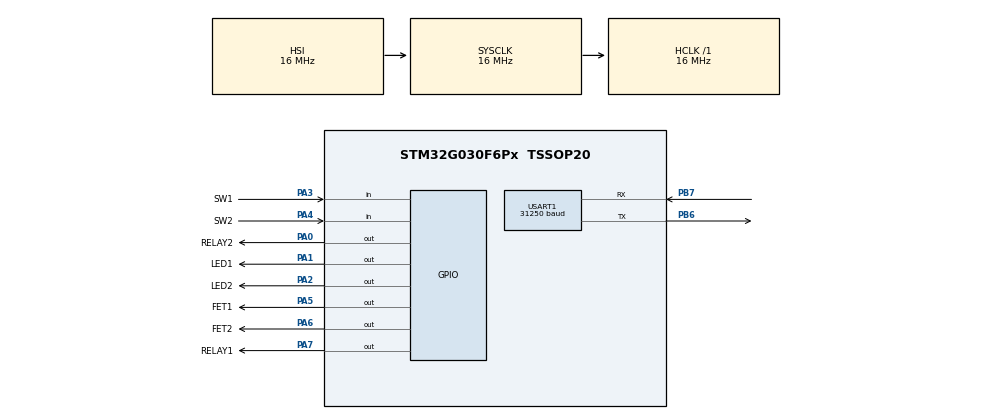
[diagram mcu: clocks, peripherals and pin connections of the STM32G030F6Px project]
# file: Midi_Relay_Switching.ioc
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Dma.Request0=USART1_RX
Dma.USART1_RX.0.Direction=DMA_PERIPH_TO_MEMORY
Dma.USART1_RX.0.EventEnable=DISABLE
Dma.USART1_RX.0.Instance=DMA1_Channel1
Dma.USART1_RX.0.MemDataAlignment=DMA_MDATAALIGN_BYTE
Dma.USART1_RX.0.MemInc=DMA_MINC_ENABLE
Dma.USART1_RX.0.Mode=DMA_NORMAL
Dma.USART1_RX.0.PeriphDataAlignment=DMA_PDATAALIGN_BYTE
Dma.USART1_RX.0.PeriphInc=DMA_PINC_DISABLE
Dma.USART1_RX.0.Polarity=HAL_DMAMUX_REQ_GEN_RISING
Dma.USART1_RX.0.Priority=DMA_PRIORITY_LOW
Dma.USART1_RX.0.RequestNumber=1
Dma.USART1_RX.0.SignalID=NONE
Dma.USART1_RX.0.SyncEnable=DISABLE
Dma.USART1_RX.0.SyncPolarity=HAL_DMAMUX_SYNC_NO_EVENT
Dma.USART1_RX.0.SyncRequestNumber=1
Dma.USART1_RX.0.SyncSignalID=NONE
Mcu.Family=STM32G0
Mcu.Name=STM32G030F6Px
Mcu.Package=TSSOP20
NVIC.DMA1_Channel1_IRQn=true\:0\:0\:false\:false\:true\:false\:true\:true
PA0.GPIO_Label=RELAY2
PA0.Signal=GPIO_Output
PA1.GPIO_Label=LED1
PA1.Signal=GPIO_Output
PA13.Mode=Serial_Wire
PA13.Signal=SYS_SWDIO
PA14-BOOT0.Mode=Serial_Wire
PA14-BOOT0.Signal=SYS_SWCLK
PA14-BOOT0__PA15.StandardMode=true
PA2.GPIO_Label=LED2
PA2.Signal=GPIO_Output
PA3.GPIO_Label=SW1
PA3.Signal=GPIO_Input
PA4.GPIO_Label=SW2
PA4.Signal=GPIO_Input
PA5.GPIO_Label=FET1
PA5.Signal=GPIO_Output
PA6.GPIO_Label=FET2
PA6.Signal=GPIO_Output
PA7.GPIO_Label=RELAY1
PA7.Signal=GPIO_Output
PB0__PB1__PB2__PA8.StandardMode=true
PB3__PB4__PB5__PB6.StandardMode=true
PB6.Mode=Asynchronous
PB6.Signal=USART1_TX
PB7.Mode=Asynchronous
PB7.Signal=USART1_RX
PB7__PB8.StandardMode=true
PC14-OSC32_IN\ (PC14)__PB9.StandardMode=true
ProjectManager.HeapSize=0x200
ProjectManager.StackSize=0x400
ProjectManager.TargetToolchain=Makefile
RCC.AHBFreq_Value=16000000
RCC.CortexFreq_Value=16000000
RCC.EXTERNAL_CLOCK_VALUE=12288000
RCC.HCLKFreq_Value=16000000
RCC.HSE_VALUE=8000000
RCC.HSI_VALUE=16000000
RCC.LSE_VALUE=32768
RCC.SYSCLKFreq_VALUE=16000000
RCC.VCOOutputFreq_Value=128000000
USART1.BaudRate=31250
USART1.VirtualMode-Asynchronous=VM_ASYNC
board=custom

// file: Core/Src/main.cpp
/* USER CODE BEGIN Header */
/**
  ******************************************************************************
  * @file           : main.c
  * @brief          : Main program body
  ******************************************************************************
  * @attention
  *
  * This software is licensed under terms that can be found in the LICENSE file
  * in the root directory of this software component.
  * If no LICENSE file comes with this software, it is provided AS-IS.
  *
  ******************************************************************************
  */
/* USER CODE END Header */
#include "main.h"

/* USER CODE BEGIN Includes */
#include <stdbool.h>
#include "MIDI.h"
#include "serialMIDI.h"

/* USER CODE END Includes */

/* USER CODE BEGIN PD */
#define HAL_FLASH_MODULE_ENABLED
#define MIDI_CHANNEL 1
#define MIDI_CC_CHANNEL_1 80
#define MIDI_CC_CHANNEL_2 81
#define ADDR_FLASH_PAGE_31    ((uint32_t)0x0800F800)
#define MIDI_CHANNEL_DEFAULT 1
/* USER CODE END PD */

UART_HandleTypeDef huart1;
DMA_HandleTypeDef hdma_usart1_rx;

/* USER CODE BEGIN PV */
bool setChannel = 0;
uint8_t UART1_rxBuffer[1] = {0};
uint8_t state1 = 0;
uint8_t state2 = 0;
uint8_t bTurnOn1 = 0;
uint8_t bTurnOff1 = 0;
uint8_t bTurnOn2 = 0;
uint8_t bTurnOff2 = 0;
uint8_t isCC = 0;
uint8_t isCorrectCCChannel1 = 0;
uint8_t isCorrectCCChannel2 = 0;
uint64_t midi_channel;

/* USER CODE END PV */

void SystemClock_Config(void);
static void MX_GPIO_Init(void);
static void MX_DMA_Init(void);
static void MX_USART1_UART_Init(void);

/* USER CODE BEGIN PFP */
bool btnState(GPIO_TypeDef*, uint16_t);
void displayChannel(int, GPIO_TypeDef*, uint16_t);
void turnOn(GPIO_TypeDef*, uint16_t, GPIO_TypeDef*, uint16_t, GPIO_TypeDef*, uint16_t);
void turnOff(GPIO_TypeDef*, uint16_t, GPIO_TypeDef*, uint16_t, GPIO_TypeDef*, uint16_t);
/* USER CODE END PFP */

int main(void)
{

  /* MCU Configuration--------------------------------------------------------*/

  /* Reset of all peripherals, Initializes the Flash interface and the Systick. */
  HAL_Init();
  /* USER CODE BEGIN Init */
  uint16_t lastPressMillis = 0;
    /* Erase Flash Page 31*/
  FLASH_EraseInitTypeDef FLASH_EraseInitStruct = {0};
  FLASH_EraseInitStruct.TypeErase = FLASH_TYPEERASE_PAGES;    //Erase type set to erase pages( Available other type is mass erase)
  FLASH_EraseInitStruct.Page = 31;            //Starting address of flash page (0x0800 0000 - 0x0801 FC00)
  FLASH_EraseInitStruct.NbPages = 1;                    //The number of pages to be erased
  uint32_t  errorStatus = 0;
  /* USER CODE END Init */

  /* Configure the system clock */
  SystemClock_Config();

  /* Initialize all configured peripherals */
  MX_GPIO_Init();
  MX_DMA_Init();
  MX_USART1_UART_Init();
  /* USER CODE BEGIN 2 */

  /* Write Channel to Flash*/
  HAL_FLASH_Unlock();
  HAL_FLASHEx_Erase(&FLASH_EraseInitStruct,&errorStatus);
  HAL_FLASH_Program(FLASH_TYPEPROGRAM_DOUBLEWORD,ADDR_FLASH_PAGE_31, MIDI_CHANNEL_DEFAULT);
  HAL_FLASH_Lock();

  /* Read MIDI Channel from Flash*/
  uint64_t * RDAddr = (uint64_t *)  ADDR_FLASH_PAGE_31;
  midi_channel = *RDAddr;

  if (HAL_GPIO_ReadPin(GPIOA, GPIO_PIN_3) == GPIO_PIN_SET)
  {
    HAL_Delay(3000);
    if(HAL_GPIO_ReadPin(GPIOA, GPIO_PIN_3) == GPIO_PIN_SET)
      setChannel = 1;
    HAL_Delay(3000);
    displayChannel(midi_channel, LED1_GPIO_Port, LED1_Pin);
  }
  while(setChannel)
  {
    if(HAL_GPIO_ReadPin(GPIOA, GPIO_PIN_3) == GPIO_PIN_SET)
    {
      midi_channel++;
      if(midi_channel > 16)
      {
        midi_channel = 1;
      }
      displayChannel(midi_channel, LED1_GPIO_Port, LED1_Pin);
      lastPressMillis = HAL_GetTick();
    }
    if (HAL_GetTick() - lastPressMillis > 20000)
    {
      displayChannel(3, LED1_GPIO_Port, LED1_Pin);

      HAL_FLASH_Unlock();
      HAL_FLASHEx_Erase(&FLASH_EraseInitStruct,&errorStatus);
      HAL_FLASH_Program(FLASH_TYPEPROGRAM_DOUBLEWORD,ADDR_FLASH_PAGE_31, midi_channel);
      HAL_FLASH_Lock();

      setChannel = 0;
    }
  }

  HAL_UART_Receive_DMA(&huart1, UART1_rxBuffer, 1);
  /* USER CODE END 2 */
  /* Infinite loop */
  /* USER CODE BEGIN WHILE */
  while (1)
  {
    if(btnState(SW1_GPIO_Port, SW1_Pin))
    {
      if(state1)
      {
        turnOff(LED1_GPIO_Port, LED1_Pin, FET1_GPIO_Port, FET1_Pin, RELAY1_GPIO_Port, RELAY1_Pin);
        state1 = 0;
      }
      else
      {
        turnOn(LED1_GPIO_Port, LED1_Pin, FET1_GPIO_Port, FET1_Pin, RELAY1_GPIO_Port, RELAY1_Pin);
        state1 = 1;
      }
      bTurnOff1 = 0;
      bTurnOn1 = 0;
    }
    if(bTurnOff1)
    {
      if(state1)
        {
          turnOff(LED1_GPIO_Port, LED1_Pin, FET1_GPIO_Port, FET1_Pin, RELAY1_GPIO_Port, RELAY1_Pin);
          state1 = 0;
        }
      bTurnOff1 = 0;
    }
    if(bTurnOn1)
    {
      if(!state1)
        {
          turnOn(LED1_GPIO_Port, LED1_Pin, FET1_GPIO_Port, FET1_Pin, RELAY1_GPIO_Port, RELAY1_Pin);
          state1 = 1;
        }
      bTurnOn1 = 0;
    }

    if(btnState(SW2_GPIO_Port, SW2_Pin))
    {
      if(state2)
      {
        turnOff(LED2_GPIO_Port, LED2_Pin, FET2_GPIO_Port, FET2_Pin, RELAY2_GPIO_Port, RELAY2_Pin);
        state2 = 0;
      }
      else
      {
        turnOn(LED2_GPIO_Port, LED2_Pin, FET2_GPIO_Port, FET2_Pin, RELAY2_GPIO_Port, RELAY2_Pin);
        state2 = 1;
      }
      bTurnOff2 = 0;
      bTurnOn2 = 0;
    }
    if(bTurnOff2)
    {
      if(state2)
        {
          turnOff(LED2_GPIO_Port, LED2_Pin, FET2_GPIO_Port, FET2_Pin, RELAY2_GPIO_Port, RELAY2_Pin);
          state2 = 0;
        }
      bTurnOff2 = 0;
    }
    if(bTurnOn2)
    {
      if(!state2)
        {
          turnOn(LED2_GPIO_Port, LED2_Pin, FET2_GPIO_Port, FET2_Pin, RELAY2_GPIO_Port, RELAY2_Pin);
          state2 = 1;
        }
      bTurnOn2 = 0;
    }

    /* USER CODE END WHILE */

  }
}

void SystemClock_Config(void)
{
  RCC_OscInitTypeDef RCC_OscInitStruct = {0};
  RCC_ClkInitTypeDef RCC_ClkInitStruct = {0};

  /** Configure the main internal regulator output voltage
  */
  HAL_PWREx_ControlVoltageScaling(PWR_REGULATOR_VOLTAGE_SCALE1);

  /** Initializes the RCC Oscillators according to the specified parameters
  * in the RCC_OscInitTypeDef structure.
  */
  RCC_OscInitStruct.OscillatorType = RCC_OSCILLATORTYPE_HSI;
  RCC_OscInitStruct.HSIState = RCC_HSI_ON;
  RCC_OscInitStruct.HSIDiv = RCC_HSI_DIV1;
  RCC_OscInitStruct.HSICalibrationValue = RCC_HSICALIBRATION_DEFAULT;
  RCC_OscInitStruct.PLL.PLLState = RCC_PLL_NONE;
  if (HAL_RCC_OscConfig(&RCC_OscInitStruct) != HAL_OK)
  {
    Error_Handler();
  }

  /** Initializes the CPU, AHB and APB buses clocks
  */
  RCC_ClkInitStruct.ClockType = RCC_CLOCKTYPE_HCLK|RCC_CLOCKTYPE_SYSCLK
                              |RCC_CLOCKTYPE_PCLK1;
  RCC_ClkInitStruct.SYSCLKSource = RCC_SYSCLKSOURCE_HSI;
  RCC_ClkInitStruct.AHBCLKDivider = RCC_SYSCLK_DIV1;
  RCC_ClkInitStruct.APB1CLKDivider = RCC_HCLK_DIV1;

  if (HAL_RCC_ClockConfig(&RCC_ClkInitStruct, FLASH_LATENCY_0) != HAL_OK)
  {
    Error_Handler();
  }
}

static void MX_USART1_UART_Init(void)
{

  huart1.Instance = USART1;
  huart1.Init.BaudRate = 31250;
  huart1.Init.WordLength = UART_WORDLENGTH_8B;
  huart1.Init.StopBits = UART_STOPBITS_1;
  huart1.Init.Parity = UART_PARITY_NONE;
  huart1.Init.Mode = UART_MODE_TX_RX;
  huart1.Init.HwFlowCtl = UART_HWCONTROL_NONE;
  huart1.Init.OverSampling = UART_OVERSAMPLING_16;
  huart1.Init.OneBitSampling = UART_ONE_BIT_SAMPLE_DISABLE;
  huart1.Init.ClockPrescaler = UART_PRESCALER_DIV1;
  huart1.AdvancedInit.AdvFeatureInit = UART_ADVFEATURE_NO_INIT;
  if (HAL_UART_Init(&huart1) != HAL_OK)
  {
    Error_Handler();
  }
  if (HAL_UARTEx_SetTxFifoThreshold(&huart1, UART_TXFIFO_THRESHOLD_1_8) != HAL_OK)
  {
    Error_Handler();
  }
  if (HAL_UARTEx_SetRxFifoThreshold(&huart1, UART_RXFIFO_THRESHOLD_1_8) != HAL_OK)
  {
    Error_Handler();
  }
  if (HAL_UARTEx_DisableFifoMode(&huart1) != HAL_OK)
  {
    Error_Handler();
  }

}

static void MX_DMA_Init(void)
{

  /* DMA controller clock enable */
  __HAL_RCC_DMA1_CLK_ENABLE();

  /* DMA interrupt init */
  /* DMA1_Channel1_IRQn interrupt configuration */
  HAL_NVIC_SetPriority(DMA1_Channel1_IRQn, 0, 0);
  HAL_NVIC_EnableIRQ(DMA1_Channel1_IRQn);

}

static void MX_GPIO_Init(void)
{
  GPIO_InitTypeDef GPIO_InitStruct = {0};

  /* GPIO Ports Clock Enable */
  __HAL_RCC_GPIOB_CLK_ENABLE();
  __HAL_RCC_GPIOA_CLK_ENABLE();

  /*Configure GPIO pin Output Level */
  HAL_GPIO_WritePin(GPIOA, RELAY2_Pin|LED1_Pin|LED2_Pin|FET1_Pin
                          |FET2_Pin|RELAY1_Pin, GPIO_PIN_RESET);

  /*Configure GPIO pins : RELAY2_Pin LED1_Pin LED2_Pin FET1_Pin
                           FET2_Pin RELAY1_Pin */
  GPIO_InitStruct.Pin = RELAY2_Pin|LED1_Pin|LED2_Pin|FET1_Pin
                          |FET2_Pin|RELAY1_Pin;
  GPIO_InitStruct.Mode = GPIO_MODE_OUTPUT_PP;
  GPIO_InitStruct.Pull = GPIO_NOPULL;
  GPIO_InitStruct.Speed = GPIO_SPEED_FREQ_LOW;
  HAL_GPIO_Init(GPIOA, &GPIO_InitStruct);

  /*Configure GPIO pins : SW1_Pin SW2_Pin */
  GPIO_InitStruct.Pin = SW1_Pin|SW2_Pin;
  GPIO_InitStruct.Mode = GPIO_MODE_INPUT;
  GPIO_InitStruct.Pull = GPIO_NOPULL;
  HAL_GPIO_Init(GPIOA, &GPIO_InitStruct);

}

/* USER CODE BEGIN 4 */

void turnOn(GPIO_TypeDef *LED_GPIO_Port, uint16_t LED_Pin, GPIO_TypeDef *FET_GPIO_Port, uint16_t FET_Pin, GPIO_TypeDef *RELAY_GPIO_Port, uint16_t RELAY_Pin)
{
  HAL_GPIO_WritePin(FET_GPIO_Port, FET_Pin, GPIO_PIN_SET);
  HAL_Delay(20);
  HAL_GPIO_WritePin(RELAY_GPIO_Port, RELAY_Pin, GPIO_PIN_SET);
  HAL_GPIO_WritePin(LED_GPIO_Port, LED_Pin, GPIO_PIN_SET);
  HAL_Delay(20);
  HAL_GPIO_WritePin(FET_GPIO_Port, FET_Pin, GPIO_PIN_RESET);
}

void turnOff(GPIO_TypeDef *LED_GPIO_Port, uint16_t LED_Pin, GPIO_TypeDef *FET_GPIO_Port, uint16_t FET_Pin, GPIO_TypeDef *RELAY_GPIO_Port, uint16_t RELAY_Pin)
{
  HAL_GPIO_WritePin(FET_GPIO_Port, FET_Pin, GPIO_PIN_SET);
  HAL_Delay(20);
  HAL_GPIO_WritePin(RELAY_GPIO_Port, RELAY_Pin, GPIO_PIN_RESET);
  HAL_GPIO_WritePin(LED_GPIO_Port, LED_Pin, GPIO_PIN_RESET);
  HAL_Delay(20);
  HAL_GPIO_WritePin(FET_GPIO_Port, FET_Pin, GPIO_PIN_RESET);
}

void displayChannel(int channel, GPIO_TypeDef *LED_GPIO_Port, uint16_t LED_Pin)
{
  for (int i = 0; i < channel; i++)
  {
    HAL_GPIO_WritePin(LED_GPIO_Port, LED_Pin, GPIO_PIN_SET);
    HAL_Delay(250);
    HAL_GPIO_WritePin(LED_GPIO_Port, LED_Pin, GPIO_PIN_RESET);
    HAL_Delay(250);
  }
}

bool btnState(GPIO_TypeDef *GPIOx, uint16_t GPIO_Pin)
{
  static uint16_t state = 0;
  state = (state<<1) | (HAL_GPIO_ReadPin(GPIOx, GPIO_Pin) == GPIO_PIN_SET) | 0xfe00;
  return (state == 0xff00);
}

void HAL_UART_RxCpltCallback(UART_HandleTypeDef *huart)
{
  // HAL_UART_Transmit(&huart1, UART1_rxBuffer, 12, 100);
  if(UART1_rxBuffer[0] == 0xB0)
    isCC = 1;
  else if(isCC == 1 && UART1_rxBuffer[0] == MIDI_CC_CHANNEL_1)
    isCorrectCCChannel1 = 1;
  else if(isCC == 1 && UART1_rxBuffer[0] == MIDI_CC_CHANNEL_2)
    isCorrectCCChannel2 = 1;
  else if(isCorrectCCChannel1 && UART1_rxBuffer[0] >= 0x40)
  {
    bTurnOn1 = 1;
    isCC = 0;
    isCorrectCCChannel1 = 0;
  }
  else if(isCorrectCCChannel2 && UART1_rxBuffer[0] >= 0x40)
  {
    bTurnOn2 = 1;
    isCC = 0;
    isCorrectCCChannel2 = 0;
  }
  else if(isCorrectCCChannel1 && UART1_rxBuffer[0] < 0x40)
  {
    bTurnOff1 = 1;
    isCC = 0;
    isCorrectCCChannel1 = 0;
  }
  else if(isCorrectCCChannel2 && UART1_rxBuffer[0] < 0x40)
  {
    bTurnOff2 = 1;
    isCC = 0;
    isCorrectCCChannel2 = 0;
  }
  else
  {
    isCC = 0;
    isCorrectCCChannel1 = 0;
    isCorrectCCChannel2 = 0;
  }

  HAL_UART_Receive_DMA(&huart1, UART1_rxBuffer, 1);
}

/* USER CODE END 4 */

void Error_Handler(void)
{
  __disable_irq();
  while (1)
  {
  }
}
